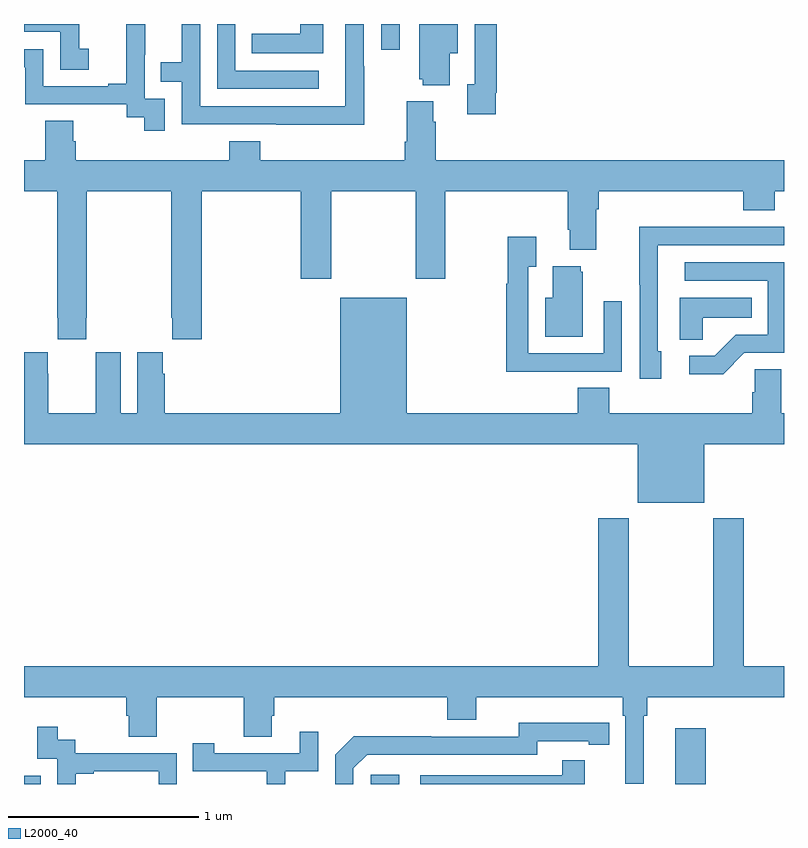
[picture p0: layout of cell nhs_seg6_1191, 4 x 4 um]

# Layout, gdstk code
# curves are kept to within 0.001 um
import gdstk
lib = gdstk.Library(unit=1e-6, precision=1e-09)
def R(c, l, rs):  # rectangles x0, y0, x1, y1
    for r in rs: c.add(gdstk.rectangle(r[:2], r[2:], *l))
def P(c, l, *ps):  # polygons
    for p in ps: c.add(gdstk.Polygon(p, *l))
L2000_40 = (2000, 40)

nhs_seg6_1191 = lib.new_cell('nhs_seg6_1191')
R(nhs_seg6_1191, L2000_40, [(183,993.5,183.089,993.543), (184.824,993.5,184.975,993.55), (186.428,993.5,186.587,993.793), (184.881,997.365,184.977,997.5)])
P(nhs_seg6_1191, L2000_40, [(184.791,997.277),(184.788,997.277),(184.788,997.5),(184.692,997.5),(184.692,997.068),(183.927,997.068),(183.927,997.5),(183.831,997.5),(183.831,997.298),(183.721,997.298),(183.721,997.197),(183.831,997.197),(183.831,996.972),(184.327,996.972),(184.327,996.971),(184.791,996.971)],
  [(183.741,997.107),(183.636,997.107),(183.636,997.337),(183.638,997.337),(183.638,997.5),(183.538,997.5),(183.538,997.469),(183.539,997.469),(183.539,997.186),(183.443,997.186),(183.443,997.173),(183.102,997.173),(183.102,997.368),(183,997.368),(183,997.272),(183.006,997.272),(183.006,997.077),(183.54,997.077),(183.54,997.009),(183.633,997.009),(183.633,996.939),(183.741,996.939)],
  [(184.576,997.5),(184.455,997.5),(184.455,997.45),(184.198,997.45),(184.198,997.346),(184.576,997.346)],
  [(184.552,997.254),(184.113,997.254),(184.113,997.5),(184.017,997.5),(184.017,997.158),(184.552,997.158)],
  [(183.34,997.369),(183.291,997.369),(183.291,997.5),(183,997.5),(183,997.458),(183.192,997.458),(183.192,997.26),(183.34,997.26)],
  [(185.242,997.346),(185.284,997.346),(185.284,997.5),(185.081,997.5),(185.081,997.209),(185.099,997.209),(185.099,997.178),(185.242,997.178)],
  [(185.482,997.138),(185.489,997.138),(185.489,997.5),(185.373,997.5),(185.373,997.182),(185.333,997.182),(185.333,997.026),(185.482,997.026)],
  [(183.112,996.784),(183,996.784),(183,996.62),(183.175,996.62),(183.175,995.953),(183.177,995.953),(183.177,995.841),(183.327,995.841),(183.327,995.953),(183.33,995.953),(183.33,996.62),(183.775,996.62),(183.775,995.953),(183.781,995.953),(183.781,995.841),(183.935,995.841),(183.935,996.62),(184.457,996.62),(184.457,996.159),(184.617,996.159),(184.617,996.62),(185.062,996.62),(185.062,996.159),(185.217,996.159),(185.217,996.62),(185.861,996.62),(185.861,996.418),(185.873,996.418),(185.873,996.311),(186.013,996.311),(186.013,996.524),(186.026,996.524),(186.026,996.62),(186.785,996.62),(186.785,996.521),(186.95,996.521),(186.95,996.62),(187,996.62),(187,996.784),(185.168,996.784),(185.168,996.986),(185.155,996.986),(185.155,997.093),(185.015,997.093),(185.015,996.88),(185.003,996.88),(185.003,996.784),(184.244,996.784),(184.244,996.883),(184.079,996.883),(184.079,996.784),(183.272,996.784),(183.272,996.882),(183.259,996.882),(183.259,996.992),(183.112,996.992)],
  [(186.355,995.778),(186.336,995.778),(186.336,996.336),(187,996.336),(187,996.432),(186.701,996.432),(186.701,996.434),(186.238,996.434),(186.238,996.127),(186.24,996.127),(186.24,995.634),(186.355,995.634)],
  [(185.831,995.67),(186.147,995.67),(186.147,996.04),(186.051,996.04),(186.051,995.766),(185.655,995.766),(185.655,996.223),(185.695,996.223),(185.695,996.379),(185.547,996.379),(185.547,996.134),(185.539,996.134),(185.539,995.669),(185.831,995.669)],
  [(186.792,995.769),(187,995.769),(187,996.246),(186.477,996.246),(186.477,996.15),(186.915,996.15),(186.915,995.865),(186.746,995.865),(186.635,995.754),(186.501,995.754),(186.501,995.657),(186.679,995.657)],
  [(185.941,996.195),(185.93,996.195),(185.93,996.226),(185.783,996.226),(185.783,996.058),(185.744,996.058),(185.744,995.855),(185.941,995.855)],
  [(186.573,995.954),(186.83,995.954),(186.83,996.058),(186.452,996.058),(186.452,995.839),(186.573,995.839)],
  [(186.58,995.288),(187,995.288),(187,995.452),(186.985,995.452),(186.985,995.684),(186.846,995.684),(186.846,995.561),(186.833,995.561),(186.833,995.452),(186.08,995.452),(186.08,995.585),(185.915,995.585),(185.915,995.452),(185.014,995.452),(185.014,996.058),(184.664,996.058),(184.664,995.452),(183.74,995.452),(183.74,995.66),(183.73,995.66),(183.73,995.773),(183.596,995.773),(183.596,995.452),(183.508,995.452),(183.508,995.773),(183.378,995.773),(183.378,995.66),(183.377,995.66),(183.377,995.452),(183.127,995.452),(183.127,995.66),(183.126,995.66),(183.126,995.773),(183,995.773),(183,995.288),(186.23,995.288),(186.23,994.979),(186.58,994.979)],
  [(186.262,993.86),(186.281,993.86),(186.281,993.956),(187,993.956),(187,994.12),(186.788,994.12),(186.788,994.9),(186.628,994.9),(186.628,994.12),(186.183,994.12),(186.183,994.9),(186.023,994.9),(186.023,994.12),(183,994.12),(183,993.956),(183.539,993.956),(183.539,993.858),(183.551,993.858),(183.551,993.748),(183.699,993.748),(183.699,993.956),(184.156,993.956),(184.156,993.748),(184.303,993.748),(184.303,993.858),(184.316,993.858),(184.316,993.956),(185.228,993.956),(185.228,993.839),(185.38,993.839),(185.38,993.956),(186.152,993.956),(186.152,993.86),(186.165,993.86),(186.165,993.501),(186.262,993.501)],
  [(184.734,993.582),(184.806,993.654),(185.7,993.654),(185.7,993.726),(185.972,993.726),(185.972,993.706),(186.08,993.706),(186.08,993.822),(185.604,993.823),(185.604,993.75),(185.144,993.75),(185.144,993.752),(184.736,993.752),(184.638,993.654),(184.638,993.5),(184.734,993.5)],
  [(183.272,993.555),(183.367,993.555),(183.367,993.567),(183.708,993.567),(183.708,993.5),(183.804,993.5),(183.804,993.663),(183.27,993.663),(183.27,993.732),(183.178,993.732),(183.178,993.802),(183.069,993.802),(183.069,993.633),(183.174,993.633),(183.174,993.5),(183.272,993.5)],
  [(184.374,993.567),(184.548,993.567),(184.548,993.775),(184.451,993.775),(184.451,993.663),(184,993.663),(184,993.715),(183.889,993.715),(183.889,993.567),(184.278,993.567),(184.278,993.5),(184.374,993.5)],
  [(185.951,993.625),(185.833,993.625),(185.833,993.546),(185.085,993.546),(185.085,993.5),(185.951,993.5)])

lib.write_gds('nhs_seg6_1191.gds')
